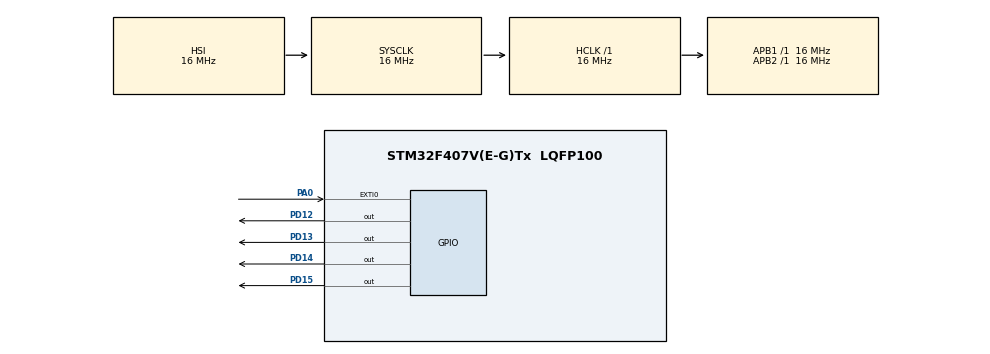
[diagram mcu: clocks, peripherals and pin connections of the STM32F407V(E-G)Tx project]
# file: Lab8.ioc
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Mcu.Family=STM32F4
Mcu.Name=STM32F407V(E-G)Tx
Mcu.Package=LQFP100
NVIC.EXTI0_IRQn=true\:0\:0\:false\:false\:true\:true\:true\:true
NVIC.PriorityGroup=NVIC_PRIORITYGROUP_4
NVIC.TIM2_IRQn=true\:0\:0\:false\:false\:true\:true\:true\:true
NVIC.TIM3_IRQn=true\:0\:0\:false\:false\:true\:true\:true\:true
PA0-WKUP.GPIO_ModeDefaultEXTI=GPIO_MODE_IT_RISING_FALLING
PA0-WKUP.GPIO_PuPd=GPIO_PULLDOWN
PA0-WKUP.Signal=GPXTI0
PD12.Signal=GPIO_Output
PD13.Signal=GPIO_Output
PD14.Signal=GPIO_Output
PD15.Signal=GPIO_Output
ProjectManager.HeapSize=0x200
ProjectManager.StackSize=0x400
ProjectManager.TargetToolchain=STM32CubeIDE
RCC.AHBFreq_Value=16000000
RCC.APB1Freq_Value=16000000
RCC.APB2Freq_Value=16000000
RCC.CortexFreq_Value=16000000
RCC.HSE_VALUE=25000000
RCC.HSI_VALUE=16000000
RCC.LSE_VALUE=32768
RCC.SYSCLKFreq_VALUE=16000000
RCC.VCOOutputFreq_Value=192000000
TIM2.Period=3000-1
TIM2.Prescaler=16000-1
TIM3.Period=10000-1
TIM3.Prescaler=16000-1
VP_TIM2_VS_ClockSourceINT.Mode=Internal
VP_TIM3_VS_ClockSourceINT.Mode=Internal
board=custom

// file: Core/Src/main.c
/* USER CODE BEGIN Header */
/**
  ******************************************************************************
  * @file           : main.c
  * @brief          : Main program body
  ******************************************************************************
  * @attention
  *
  * Copyright (c) 2024 STMicroelectronics.
  * All rights reserved.
  *
  * This software is licensed under terms that can be found in the LICENSE file
  * in the root directory of this software component.
  * If no LICENSE file comes with this software, it is provided AS-IS.
  *
  ******************************************************************************
  */
/* USER CODE END Header */
#include "main.h"

TIM_HandleTypeDef htim2;
TIM_HandleTypeDef htim3;

/* USER CODE BEGIN PV */
volatile uint8_t buttonPress = 0;
volatile uint32_t buttonDuration = 0;

/* USER CODE END PV */

void SystemClock_Config(void);
static void MX_GPIO_Init(void);
static void MX_TIM2_Init(void);
static void MX_TIM3_Init(void);

/* USER CODE BEGIN 0 */
uint8_t luckyNumber = 7;
uint8_t start = 3;
uint8_t guess = 0;
uint8_t state = 0;
/* USER CODE END 0 */

int main(void)
{

  /* MCU Configuration--------------------------------------------------------*/

  /* Reset of all peripherals, Initializes the Flash interface and the Systick. */
  HAL_Init();

  /* Configure the system clock */
  SystemClock_Config();

  /* Initialize all configured peripherals */
  MX_GPIO_Init();
  MX_TIM2_Init();
  MX_TIM3_Init();
  /* USER CODE BEGIN 2 */
  HAL_TIM_Base_Start(&htim3);
  HAL_TIM_Base_Start_IT(&htim2);
  /* USER CODE END 2 */

  /* Infinite loop */
  /* USER CODE BEGIN WHILE */
  while (1)
  {
	  if(state == 2){
		  HAL_GPIO_WritePin(GPIOD, GPIO_PIN_12, (luckyNumber & 0x01) ? GPIO_PIN_SET : GPIO_PIN_RESET);
		  HAL_GPIO_WritePin(GPIOD, GPIO_PIN_13, (luckyNumber & 0x02) ? GPIO_PIN_SET : GPIO_PIN_RESET);
		  HAL_GPIO_WritePin(GPIOD, GPIO_PIN_14, (luckyNumber & 0x04) ? GPIO_PIN_SET : GPIO_PIN_RESET);
		  HAL_GPIO_WritePin(GPIOD, GPIO_PIN_15, (luckyNumber & 0x08) ? GPIO_PIN_SET : GPIO_PIN_RESET);
	  }
    /* USER CODE END WHILE */

  }
}

void SystemClock_Config(void)
{
  RCC_OscInitTypeDef RCC_OscInitStruct = {0};
  RCC_ClkInitTypeDef RCC_ClkInitStruct = {0};

  /** Configure the main internal regulator output voltage
  */
  __HAL_RCC_PWR_CLK_ENABLE();
  __HAL_PWR_VOLTAGESCALING_CONFIG(PWR_REGULATOR_VOLTAGE_SCALE1);

  /** Initializes the RCC Oscillators according to the specified parameters
  * in the RCC_OscInitTypeDef structure.
  */
  RCC_OscInitStruct.OscillatorType = RCC_OSCILLATORTYPE_HSI;
  RCC_OscInitStruct.HSIState = RCC_HSI_ON;
  RCC_OscInitStruct.HSICalibrationValue = RCC_HSICALIBRATION_DEFAULT;
  RCC_OscInitStruct.PLL.PLLState = RCC_PLL_NONE;
  if (HAL_RCC_OscConfig(&RCC_OscInitStruct) != HAL_OK)
  {
    Error_Handler();
  }

  /** Initializes the CPU, AHB and APB buses clocks
  */
  RCC_ClkInitStruct.ClockType = RCC_CLOCKTYPE_HCLK|RCC_CLOCKTYPE_SYSCLK
                              |RCC_CLOCKTYPE_PCLK1|RCC_CLOCKTYPE_PCLK2;
  RCC_ClkInitStruct.SYSCLKSource = RCC_SYSCLKSOURCE_HSI;
  RCC_ClkInitStruct.AHBCLKDivider = RCC_SYSCLK_DIV1;
  RCC_ClkInitStruct.APB1CLKDivider = RCC_HCLK_DIV1;
  RCC_ClkInitStruct.APB2CLKDivider = RCC_HCLK_DIV1;

  if (HAL_RCC_ClockConfig(&RCC_ClkInitStruct, FLASH_LATENCY_0) != HAL_OK)
  {
    Error_Handler();
  }
}

static void MX_TIM2_Init(void)
{

  TIM_ClockConfigTypeDef sClockSourceConfig = {0};
  TIM_MasterConfigTypeDef sMasterConfig = {0};

  htim2.Instance = TIM2;
  htim2.Init.Prescaler = 16000-1;
  htim2.Init.CounterMode = TIM_COUNTERMODE_UP;
  htim2.Init.Period = 3000-1;
  htim2.Init.ClockDivision = TIM_CLOCKDIVISION_DIV1;
  htim2.Init.AutoReloadPreload = TIM_AUTORELOAD_PRELOAD_DISABLE;
  if (HAL_TIM_Base_Init(&htim2) != HAL_OK)
  {
    Error_Handler();
  }
  sClockSourceConfig.ClockSource = TIM_CLOCKSOURCE_INTERNAL;
  if (HAL_TIM_ConfigClockSource(&htim2, &sClockSourceConfig) != HAL_OK)
  {
    Error_Handler();
  }
  sMasterConfig.MasterOutputTrigger = TIM_TRGO_RESET;
  sMasterConfig.MasterSlaveMode = TIM_MASTERSLAVEMODE_DISABLE;
  if (HAL_TIMEx_MasterConfigSynchronization(&htim2, &sMasterConfig) != HAL_OK)
  {
    Error_Handler();
  }

}

static void MX_TIM3_Init(void)
{

  TIM_ClockConfigTypeDef sClockSourceConfig = {0};
  TIM_MasterConfigTypeDef sMasterConfig = {0};

  htim3.Instance = TIM3;
  htim3.Init.Prescaler = 16000-1;
  htim3.Init.CounterMode = TIM_COUNTERMODE_UP;
  htim3.Init.Period = 10000-1;
  htim3.Init.ClockDivision = TIM_CLOCKDIVISION_DIV1;
  htim3.Init.AutoReloadPreload = TIM_AUTORELOAD_PRELOAD_DISABLE;
  if (HAL_TIM_Base_Init(&htim3) != HAL_OK)
  {
    Error_Handler();
  }
  sClockSourceConfig.ClockSource = TIM_CLOCKSOURCE_INTERNAL;
  if (HAL_TIM_ConfigClockSource(&htim3, &sClockSourceConfig) != HAL_OK)
  {
    Error_Handler();
  }
  sMasterConfig.MasterOutputTrigger = TIM_TRGO_RESET;
  sMasterConfig.MasterSlaveMode = TIM_MASTERSLAVEMODE_DISABLE;
  if (HAL_TIMEx_MasterConfigSynchronization(&htim3, &sMasterConfig) != HAL_OK)
  {
    Error_Handler();
  }

}

static void MX_GPIO_Init(void)
{
  GPIO_InitTypeDef GPIO_InitStruct = {0};

  /* GPIO Ports Clock Enable */
  __HAL_RCC_GPIOA_CLK_ENABLE();
  __HAL_RCC_GPIOD_CLK_ENABLE();

  /*Configure GPIO pin Output Level */
  HAL_GPIO_WritePin(GPIOD, GPIO_PIN_12|GPIO_PIN_13|GPIO_PIN_14|GPIO_PIN_15, GPIO_PIN_RESET);

  /*Configure GPIO pin : PA0 */
  GPIO_InitStruct.Pin = GPIO_PIN_0;
  GPIO_InitStruct.Mode = GPIO_MODE_IT_RISING_FALLING;
  GPIO_InitStruct.Pull = GPIO_PULLDOWN;
  HAL_GPIO_Init(GPIOA, &GPIO_InitStruct);

  /*Configure GPIO pins : PD12 PD13 PD14 PD15 */
  GPIO_InitStruct.Pin = GPIO_PIN_12|GPIO_PIN_13|GPIO_PIN_14|GPIO_PIN_15;
  GPIO_InitStruct.Mode = GPIO_MODE_OUTPUT_PP;
  GPIO_InitStruct.Pull = GPIO_NOPULL;
  GPIO_InitStruct.Speed = GPIO_SPEED_FREQ_LOW;
  HAL_GPIO_Init(GPIOD, &GPIO_InitStruct);

  /* EXTI interrupt init*/
  HAL_NVIC_SetPriority(EXTI0_IRQn, 0, 0);
  HAL_NVIC_EnableIRQ(EXTI0_IRQn);

}

/* USER CODE BEGIN 4 */
void HAL_GPIO_EXTI_Callback(uint16_t GPIO_Pin) {
    if (GPIO_Pin == GPIO_PIN_0) {
        if (HAL_GPIO_ReadPin(GPIOA, GPIO_PIN_0) == GPIO_PIN_SET && buttonPress == 0) {
            buttonPress = 1;
            buttonDuration = 0;
            __HAL_TIM_SET_COUNTER(&htim3, 0);
            HAL_TIM_Base_Start(&htim3);
        } else {
            HAL_TIM_Base_Stop(&htim3);
            buttonDuration = __HAL_TIM_GET_COUNTER(&htim3);
            buttonPress = 0;

        }
    	if (buttonDuration < 2000) {
    			  guess = start;
    			  if (guess == luckyNumber) {
    				  state = 2;
    			  } else {
    				  state = 1;
    			  }
    		  } else if (buttonDuration > 3000) {
    			  state = 0;
    			  start = 3;
    		  }
    }
}

void HAL_TIM_PeriodElapsedCallback(TIM_HandleTypeDef *htim) {
	if (htim->Instance == TIM2 && state != 2) {
        uint8_t val = start;
        HAL_GPIO_WritePin(GPIOD, GPIO_PIN_12, (val & 0x01) ? GPIO_PIN_SET : GPIO_PIN_RESET);
        HAL_GPIO_WritePin(GPIOD, GPIO_PIN_13, (val & 0x02) ? GPIO_PIN_SET : GPIO_PIN_RESET);
        HAL_GPIO_WritePin(GPIOD, GPIO_PIN_14, (val & 0x04) ? GPIO_PIN_SET : GPIO_PIN_RESET);
        HAL_GPIO_WritePin(GPIOD, GPIO_PIN_15, (val & 0x08) ? GPIO_PIN_SET : GPIO_PIN_RESET);
        start++;
        if (start > 8) start = 3;
    }
}
/* USER CODE END 4 */

void Error_Handler(void)
{
  __disable_irq();
  while (1)
  {
  }
}
